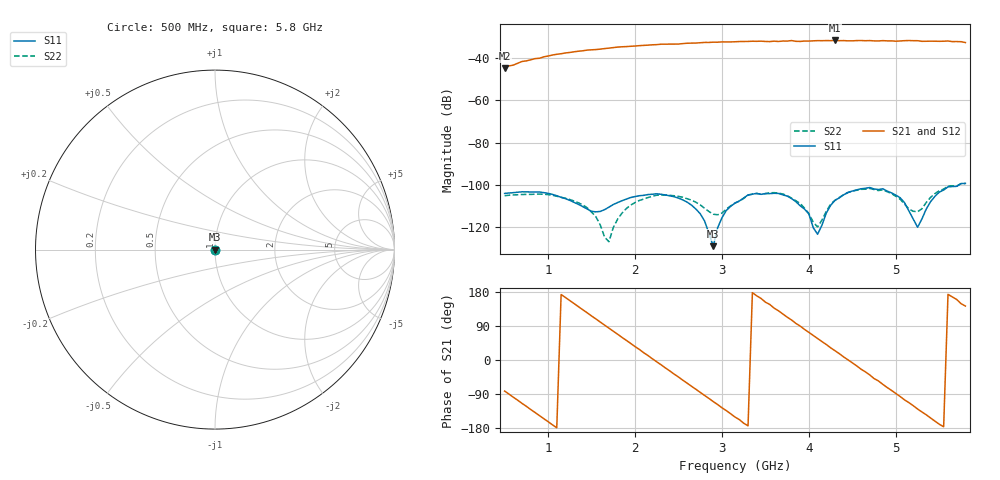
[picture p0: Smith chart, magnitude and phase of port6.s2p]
# GHZ S RI R 50
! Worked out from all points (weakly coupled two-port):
!   107 points, 500 MHz to 5.8 GHz, reference 50 ohm
!   highest |S21| = -31.63 dB at 4.3 GHz (marker M1); lowest = -44.8 dB at 500 MHz (marker M2)
!   lowest |S11| = -129.0 dB at 2.9 GHz (marker M3), VSWR 1.00, Z = 50 - j9.72e-06 ohm
!   |S11| at or under -10 dB: start of sweep to end of sweep
!   |S22| runs from -126.9 to -99.3 dB; largest |S21 - S12| = 0.00052
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0.5  5.3e-06 -3.4e-06  0.000802 -0.00572  0.000805 -0.00572  5.43e-06 -1.17e-06
0.55  4.79e-06 -4.31e-06  1.14e-05 -0.00655  2.05e-05 -0.00655  5.44e-06 -1.69e-06
0.6  4.07e-06 -5.14e-06  -0.000975 -0.00677  -0.000984 -0.00677  5.31e-06 -2.33e-06
0.7  2.39e-06 -6.45e-06  -0.00345 -0.00759  -0.00345 -0.00759  4.8e-06 -3.51e-06
0.9  -1.71e-06 -6.57e-06  -0.00829 -0.00546  -0.0083 -0.00547  2.78e-06 -5.41e-06
1.05  -3.56e-06 -4.79e-06  -0.0117 -0.00186  -0.0117 -0.00184  7.6e-07 -5.63e-06
1.4  -2.86e-06 -1.1e-06  -0.0101 0.011  -0.0101 0.011  -2.31e-06 -2.46e-06
1.8  -2.5e-06 -2.91e-06  0.00684 0.0169  0.00685 0.0169  1.23e-06 -9.53e-07
2.3  -5.94e-06 9.08e-07  0.0209 -0.0047  0.0209 -0.00461  -2.12e-06 -5.39e-06
2.5  -3.84e-06 3e-06  0.0152 -0.0152  0.0152 -0.0152  -4.3e-06 -3.2e-06
2.9  -3.42e-07 -9.72e-08  -0.00805 -0.0225  -0.008 -0.0225  -1.92e-06 -6.75e-07
3.15  -3.06e-06 -2.12e-06  -0.0212 -0.012  -0.0212 -0.0122  -2.24e-06 -3e-06
3.45  -5.85e-06 1.32e-06  -0.024 0.00764  -0.0239 0.00755  -5.82e-06 -1.47e-06
3.55  -5.18e-06 3.46e-06  -0.0206 0.0136  -0.0203 0.0138  -6.48e-06 6.11e-07
3.8  -1.63e-06 4.48e-06  -0.00702 0.0251  -0.00712 0.025  -3.89e-06 2.91e-06
3.9  -1.68e-07 3.2e-06  0.000241 0.0249  0.000318 0.0248  -2.07e-06 3e-06
4.05  -2.57e-07 9.39e-07  0.0109 0.0232  0.0109 0.0232  -9.98e-07 8.56e-07
4.3  -4.31e-06 -4.21e-07  0.0238 0.0109  0.0238 0.0108  -3.79e-06 -2.05e-06
4.95  1.6e-06 6.28e-06  0.00436 -0.0252  0.00438 -0.0253  -2.65e-06 5.62e-06
5.6  -7.8e-06 4.53e-06  -0.0253 0.00299  -0.0253 0.00248  -8.1e-06 4.87e-06
5.75  -5.18e-06 9.42e-06  -0.0209 0.0127  -0.0212 0.0126  -5.87e-06 9.05e-06
5.8  -4.61e-06 9.86e-06  -0.0185 0.0143  -0.0182 0.0145  -5.38e-06 9.33e-06
